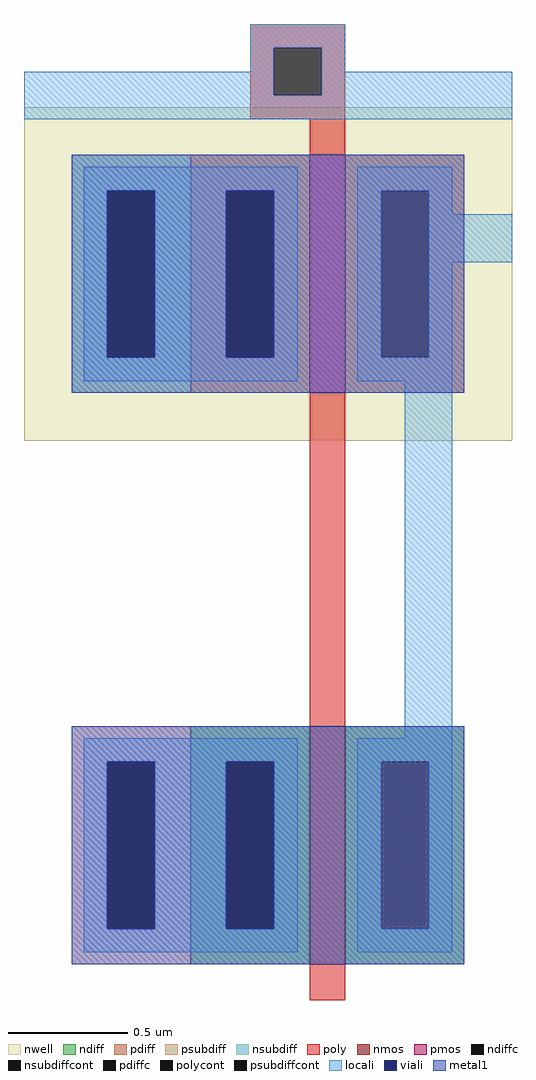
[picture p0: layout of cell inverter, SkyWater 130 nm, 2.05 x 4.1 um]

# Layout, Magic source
magic
tech sky130A
<< nwell >>
rect -115 125 90 265
<< nmos >>
rect 5 -95 20 5
<< pmos >>
rect 5 145 20 245
<< ndiff >>
rect -45 -10 5 5
rect -45 -80 -30 -10
rect -10 -80 5 -10
rect -45 -95 5 -80
rect 20 -10 70 5
rect 20 -80 35 -10
rect 55 -80 70 -10
rect 20 -95 70 -80
<< pdiff >>
rect -45 230 5 245
rect -45 160 -30 230
rect -10 160 5 230
rect -45 145 5 160
rect 20 230 70 245
rect 20 160 35 230
rect 55 160 70 230
rect 20 145 70 160
<< ndiffc >>
rect -30 -80 -10 -10
rect 35 -80 55 -10
<< pdiffc >>
rect -30 160 -10 230
rect 35 160 55 230
<< psubdiff >>
rect -95 -10 -45 5
rect -95 -80 -80 -10
rect -60 -80 -45 -10
rect -95 -95 -45 -80
<< nsubdiff >>
rect -95 230 -45 245
rect -95 160 -80 230
rect -60 160 -45 230
rect -95 145 -45 160
<< psubdiffcont >>
rect -80 -80 -60 -10
<< nsubdiffcont >>
rect -80 160 -60 230
<< poly >>
rect -20 290 20 300
rect -20 270 -10 290
rect 10 270 20 290
rect -20 260 20 270
rect 5 245 20 260
rect 5 5 20 145
rect 5 -110 20 -95
<< polycont >>
rect -10 270 10 290
<< locali >>
rect -20 290 20 300
rect -20 280 -10 290
rect -115 270 -10 280
rect 10 280 20 290
rect 10 270 90 280
rect -115 260 90 270
rect -90 230 0 240
rect -90 160 -80 230
rect -60 160 -30 230
rect -10 160 0 230
rect -90 150 0 160
rect 25 230 65 240
rect 25 160 35 230
rect 55 220 65 230
rect 55 200 90 220
rect 55 160 65 200
rect 25 150 65 160
rect 45 0 65 150
rect -90 -10 0 0
rect -90 -80 -80 -10
rect -60 -80 -30 -10
rect -10 -80 0 -10
rect -90 -90 0 -80
rect 25 -10 65 0
rect 25 -80 35 -10
rect 55 -80 65 -10
rect 25 -90 65 -80
<< viali >>
rect -80 160 -60 230
rect -30 160 -10 230
rect -80 -80 -60 -10
rect -30 -80 -10 -10
<< metal1 >>
rect -95 230 70 245
rect -95 160 -80 230
rect -60 160 -30 230
rect -10 160 70 230
rect -95 145 70 160
rect -95 -10 70 5
rect -95 -80 -80 -10
rect -60 -80 -30 -10
rect -10 -80 70 -10
rect -95 -95 70 -80
<< end >>
